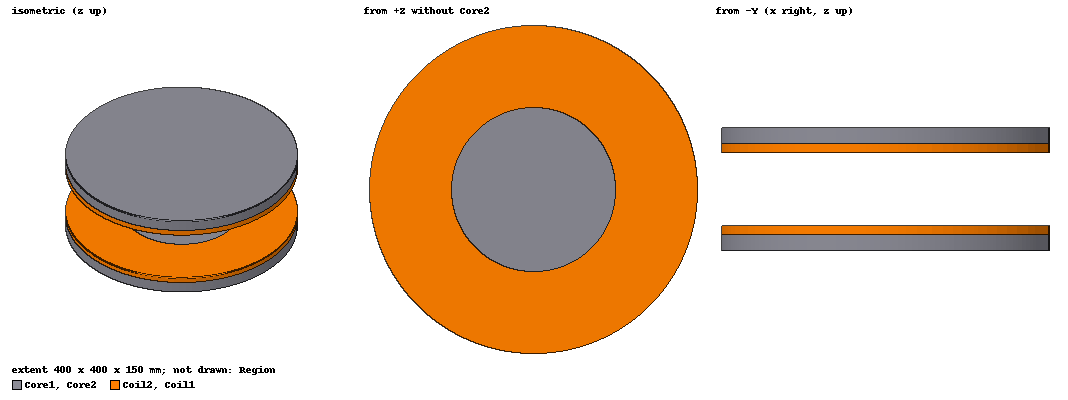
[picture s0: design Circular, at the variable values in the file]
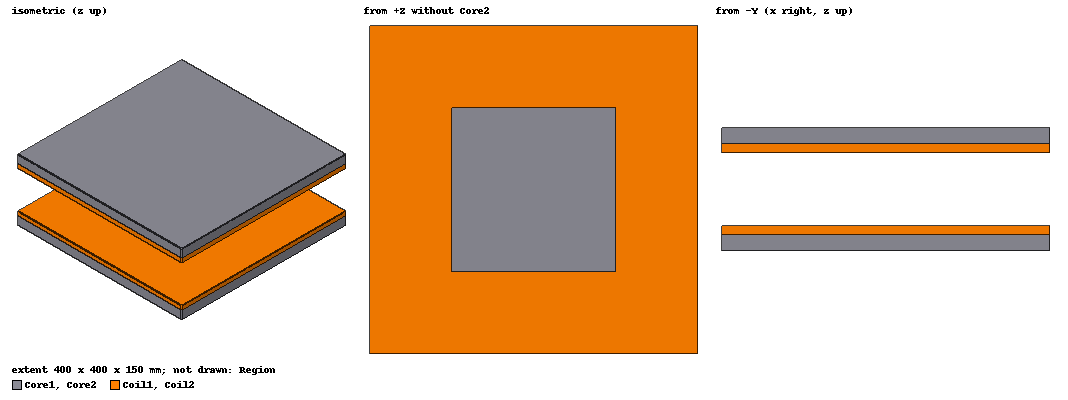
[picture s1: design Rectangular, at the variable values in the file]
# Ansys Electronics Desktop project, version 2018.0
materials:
  vacuum: permittivity=1
  copper: permeability=0.999991 conductivity=58000000
  ferrite: permittivity=12 permeability=1000 conductivity=0.01

design Circular (Maxwell 3D, Magnetostatic, model units mm)
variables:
  Rf = 20cm
  Hf = 2cm
  wc = 10cm
  hc = 1cm
  TransferDistance = 15cm
  H_mis_align = 0cm
  V_mis_align = 0cm
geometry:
  Core1 [ferrite] = rectangle(corner=(0mm, 0mm, 0mm), y_size=Rf, z_size=Hf)
  Coil1 [copper] = rectangle(corner=(0mm, Rf-wc, hf), y_size=wc, z_size=hc)
  [Core1, Coil1].sweep_around_axis(axis=Z, angle=360deg)
  Coil1_Section1 = Coil1.section(plane=YZ)
  Terminal1 [copper] = Coil1_Section1.separate_bodies()
  Coil1_Section1.delete()
  Core2 [ferrite] = Core1.duplicate_mirror(point=(0mm, 0mm, 0mm), normal=(0mm, 0mm, 1mm))
  Coil2 [copper] = Coil1.duplicate_mirror(point=(0mm, 0mm, 0mm), normal=(0mm, 0mm, 1mm))
  Terminal2 [copper] = Terminal1.duplicate_mirror(point=(0mm, 0mm, 0mm), normal=(0mm, 0mm, 1mm))
  [Terminal2, Core2, Coil2].move(0mm, 0mm, TransferDistance)
  Region [vacuum] = region(percentage_offset=150 on all sides)
  [Coil2, Core2, Terminal2].move(0mm, H_mis_align, V_mis_align)
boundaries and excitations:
  Coil1: Current Objects=Terminal1 Current=0A IsSolid=true Point_out_of_terminal=false
  Coil2: Current Objects=Terminal2 Current=0A IsSolid=true Point_out_of_terminal=false
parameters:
  Matrix1: Matrix Coil1, Coil2: NumberOfTurns=1
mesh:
  Length1: LengthBased RefineInside Objects=Region MaxLength=2cm
  initial mesh: GlobalCurvilinear{Apply}
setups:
  Setup1: Magnetostatic MaximumPasses=10 MinimumPasses=2 MinimumConvergedPasses=1 PercentRefinement=30 PercentError=1 NonLinearResidual=0.01
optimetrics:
  Horizental: Parametric Sim._Setups=[Setup1]
    sweep H_mis_align: LIN 0cm 10cm 2cm
  Vertical: Parametric Sim._Setups=[Setup1]
    sweep V_mis_align: LIN -1cm 5cm 1cm
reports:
  L Table 1: Matrix1.L(Coil1,Coil1), Matrix1.L(Coil1,Coil2), Matrix1.L(Coil2,Coil1), Matrix1.L(Coil2,Coil2) vs Rf on Setup1 : LastAdaptive
  L Plot 1: Matrix1.L(Coil1,Coil2) vs H_mis_align on Setup1 : LastAdaptive
  L Plot 2: Matrix1.L(Coil1,Coil2) vs V_mis_align on Setup1 : LastAdaptive [H_mis_align=all]

design Rectangular (Maxwell 3D, Magnetostatic, model units mm)
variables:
  Wf = 40cm
  Hf = 2cm
  Hc = 1cm
  wc = 10cm
  TransferDistance = 15cm
  H_mis_align = 0cm
  V_mis_align = 0cm
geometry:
  Core1 [ferrite] = box(corner=(-Wf/2, -Wf/2, 0mm), size=(Wf, Wf, Hf))
  Coil1 [copper] = box(corner=(-Wf/2, -Wf/2, Hf), size=(Wf, Wf, Hc))
  Box3 = box(corner=(-wf/2+wc, -wf/2+wc, hf), size=(wf-2*wc, wf-2*wc, hc))
  Coil1.subtract(Box3)
  Terminal1 [copper] = Coil1.section(plane=YZ)
  Terminal1.separate_bodies()
  Core2 [ferrite] = Core1.duplicate_mirror(point=(0mm, 0mm, 0mm), normal=(0mm, 0mm, 1mm))
  Coil2 [copper] = Coil1.duplicate_mirror(point=(0mm, 0mm, 0mm), normal=(0mm, 0mm, 1mm))
  Terminal2 [copper] = Terminal1.duplicate_mirror(point=(0mm, 0mm, 0mm), normal=(0mm, 0mm, 1mm))
  [Coil2, Core2, Terminal2].move(0mm, 0mm, TransferDistance)
  Region [vacuum] = region(percentage_offset=150 on all sides)
  [Coil2, Core2, Terminal2].move(0mm, H_mis_align, V_mis_align)
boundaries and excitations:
  Coil1: Current Objects=Terminal1 Current=0A IsSolid=true Point_out_of_terminal=false
  Coil2: Current Objects=Terminal2 Current=0A IsSolid=true Point_out_of_terminal=false
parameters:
  Matrix1: Matrix Coil1, Coil2: NumberOfTurns=1
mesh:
  Length1: LengthBased RefineInside Objects=[Coil1, Coil2, Core1, Core2, Terminal1, Terminal2] MaxLength=2cm
  initial mesh: GlobalCurvilinear{Apply}
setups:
  Setup1: Magnetostatic MaximumPasses=10 MinimumPasses=2 MinimumConvergedPasses=1 PercentRefinement=30 PercentError=1 NonLinearResidual=0.001
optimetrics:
  Horizental: Parametric Sim._Setups=[Setup1]
    sweep H_mis_align: LIN 0cm 10cm 2cm
  Vertical: Parametric Sim._Setups=[Setup1]
    sweep V_mis_align: LIN -1cm 5cm 1cm
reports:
  L Plot 1: Matrix1.L(Coil1,Coil2) vs H_mis_align on Setup1 : LastAdaptive
  L Plot 2: Matrix1.L(Coil1,Coil2) vs V_mis_align on Setup1 : LastAdaptive [H_mis_align=all]
